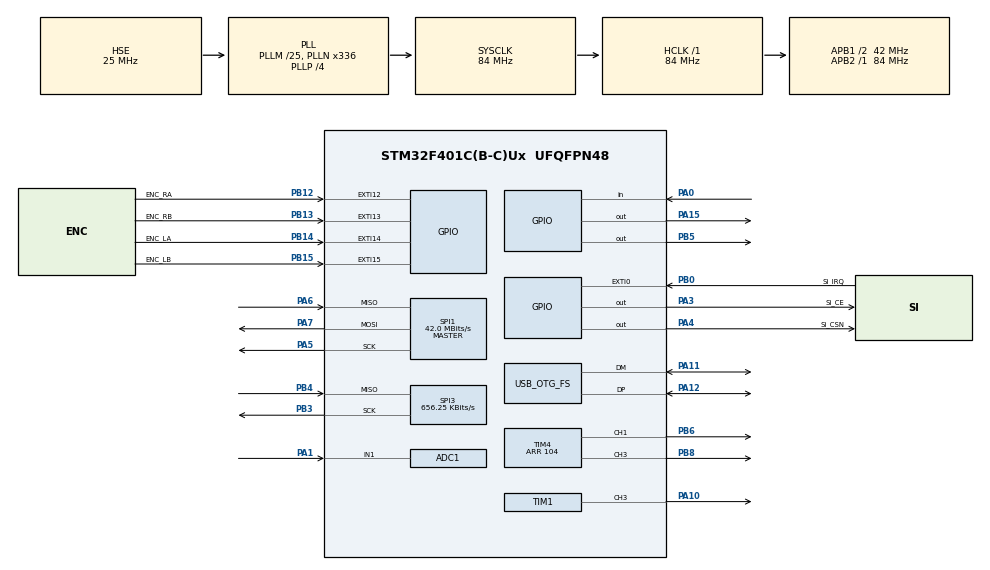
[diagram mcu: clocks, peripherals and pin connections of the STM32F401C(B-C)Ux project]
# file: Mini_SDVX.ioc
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ADC1.Channel-1\#ChannelRegularConversion=ADC_CHANNEL_1
ADC1.NbrOfConversionFlag=1
ADC1.Rank-1\#ChannelRegularConversion=1
ADC1.SamplingTime-1\#ChannelRegularConversion=ADC_SAMPLETIME_3CYCLES
ADC1.master=1
AL94.I-CUBE-USBD-COMPOSITE.1.0.3.CompositeCcUSBJjCOMPOSITEJjCDCIiACM=true
AL94.I-CUBE-USBD-COMPOSITE.1.0.3.CompositeCcUSBJjCOMPOSITEJjCOMPOSITE=true
AL94.I-CUBE-USBD-COMPOSITE.1.0.3.CompositeCcUSBJjCOMPOSITEJjCore=true
AL94.I-CUBE-USBD-COMPOSITE.1.0.3.CompositeCcUSBJjCOMPOSITEJjMSCIiBOT=true
AL94.I-CUBE-USBD-COMPOSITE.1.0.3._USBD_USE_CDC_ACM=true
AL94.I-CUBE-USBD-COMPOSITE.1.0.3._USBD_USE_HID_KEYBOARD=true
AL94.I-CUBE-USBD-COMPOSITE.1.0.3._USBD_USE_HID_MOUSE=true
AL94.I-CUBE-USBD-COMPOSITE.1.0.3._USBD_USE_HS=false
Dma.Request0=TIM4_CH3
Dma.Request1=TIM4_CH1
Dma.TIM4_CH1.1.Direction=DMA_MEMORY_TO_PERIPH
Dma.TIM4_CH1.1.FIFOMode=DMA_FIFOMODE_DISABLE
Dma.TIM4_CH1.1.Instance=DMA1_Stream0
Dma.TIM4_CH1.1.MemDataAlignment=DMA_MDATAALIGN_HALFWORD
Dma.TIM4_CH1.1.MemInc=DMA_MINC_ENABLE
Dma.TIM4_CH1.1.Mode=DMA_NORMAL
Dma.TIM4_CH1.1.PeriphDataAlignment=DMA_PDATAALIGN_HALFWORD
Dma.TIM4_CH1.1.PeriphInc=DMA_PINC_DISABLE
Dma.TIM4_CH1.1.Priority=DMA_PRIORITY_LOW
Dma.TIM4_CH3.0.Direction=DMA_MEMORY_TO_PERIPH
Dma.TIM4_CH3.0.FIFOMode=DMA_FIFOMODE_DISABLE
Dma.TIM4_CH3.0.Instance=DMA1_Stream7
Dma.TIM4_CH3.0.MemDataAlignment=DMA_MDATAALIGN_WORD
Dma.TIM4_CH3.0.MemInc=DMA_MINC_ENABLE
Dma.TIM4_CH3.0.Mode=DMA_CIRCULAR
Dma.TIM4_CH3.0.PeriphDataAlignment=DMA_PDATAALIGN_WORD
Dma.TIM4_CH3.0.PeriphInc=DMA_PINC_DISABLE
Dma.TIM4_CH3.0.Priority=DMA_PRIORITY_LOW
Mcu.Family=STM32F4
Mcu.Name=STM32F401C(B-C)Ux
Mcu.Package=UFQFPN48
NVIC.DMA1_Stream0_IRQn=true\:0\:0\:false\:false\:true\:false\:true\:true
NVIC.DMA1_Stream7_IRQn=true\:0\:0\:false\:false\:true\:false\:true\:true
NVIC.EXTI15_10_IRQn=true\:0\:0\:false\:false\:true\:true\:true\:true
NVIC.PriorityGroup=NVIC_PRIORITYGROUP_4
NVIC.TIM3_IRQn=true\:0\:0\:false\:false\:true\:true\:true\:true
PA0-WKUP.GPIO_PuPd=GPIO_PULLUP
PA0-WKUP.Signal=GPIO_Input
PA1.Signal=ADCx_IN1
PA10.Signal=S_TIM1_CH3
PA11.Mode=Device_Only
PA11.Signal=USB_OTG_FS_DM
PA12.Mode=Device_Only
PA12.Signal=USB_OTG_FS_DP
PA13.Mode=Serial_Wire
PA13.Signal=SYS_JTMS-SWDIO
PA14.Mode=Serial_Wire
PA14.Signal=SYS_JTCK-SWCLK
PA15.Signal=GPIO_Output
PA3.GPIO_Label=Si_CE
PA3.Signal=GPIO_Output
PA4.GPIO_Label=Si_CSN
PA4.Signal=GPIO_Output
PA5.Mode=Full_Duplex_Master
PA5.Signal=SPI1_SCK
PA6.Mode=Full_Duplex_Master
PA6.Signal=SPI1_MISO
PA7.Mode=Full_Duplex_Master
PA7.Signal=SPI1_MOSI
PB0.GPIO_Label=Si_IRQ
PB0.Signal=GPXTI0
PB1.Signal=S_TIM3_CH4
PB12.GPIO_Label=ENC_RA
PB12.GPIO_ModeDefaultEXTI=GPIO_MODE_IT_RISING_FALLING
PB12.GPIO_PuPd=GPIO_PULLUP
PB12.Signal=GPXTI12
PB13.GPIO_Label=ENC_RB
PB13.GPIO_ModeDefaultEXTI=GPIO_MODE_IT_RISING_FALLING
PB13.GPIO_PuPd=GPIO_PULLUP
PB13.Signal=GPXTI13
PB14.GPIO_Label=ENC_LA
PB14.GPIO_ModeDefaultEXTI=GPIO_MODE_IT_RISING_FALLING
PB14.GPIO_PuPd=GPIO_PULLUP
PB14.Signal=GPXTI14
PB15.GPIO_Label=ENC_LB
PB15.GPIO_ModeDefaultEXTI=GPIO_MODE_IT_RISING_FALLING
PB15.GPIO_PuPd=GPIO_PULLUP
PB15.Signal=GPXTI15
PB3.Mode=RX_Only_Simplex_Unidirect_Master
PB3.Signal=SPI3_SCK
PB4.Mode=RX_Only_Simplex_Unidirect_Master
PB4.Signal=SPI3_MISO
PB5.Signal=GPIO_Output
PB6.Signal=S_TIM4_CH1
PB7.Signal=I2C1_SDA
PB8.GPIO_Speed=GPIO_SPEED_FREQ_HIGH
PB8.Signal=S_TIM4_CH3
PH0\ -\ OSC_IN.Mode=HSE-External-Oscillator
PH0\ -\ OSC_IN.Signal=RCC_OSC_IN
PH1\ -\ OSC_OUT.Mode=HSE-External-Oscillator
PH1\ -\ OSC_OUT.Signal=RCC_OSC_OUT
ProjectManager.HeapSize=0x400
ProjectManager.StackSize=0x400
ProjectManager.TargetToolchain=MDK-ARM V5.32
RCC.48MHZClocksFreq_Value=48000000
RCC.AHBFreq_Value=84000000
RCC.APB1CLKDivider=RCC_HCLK_DIV2
RCC.APB1Freq_Value=42000000
RCC.APB1TimFreq_Value=84000000
RCC.APB2Freq_Value=84000000
RCC.APB2TimFreq_Value=84000000
RCC.CortexFreq_Value=84000000
RCC.HCLKFreq_Value=84000000
RCC.HSE_VALUE=25000000
RCC.HSI_VALUE=16000000
RCC.LSE_VALUE=32768
RCC.PLLM=25
RCC.PLLN=336
RCC.PLLP=RCC_PLLP_DIV4
RCC.PLLQ=7
RCC.SYSCLKFreq_VALUE=84000000
RCC.SYSCLKSource=RCC_SYSCLKSOURCE_PLLCLK
RCC.VCOOutputFreq_Value=336000000
SH.ADCx_IN1.0=ADC1_IN1,IN1
SH.S_TIM1_CH3.0=TIM1_CH3,PWM Generation3 CH3
SH.S_TIM3_CH4.0=TIM3_CH4
SH.S_TIM4_CH1.0=TIM4_CH1,PWM Generation1 CH1
SH.S_TIM4_CH3.0=TIM4_CH3,PWM Generation3 CH3
SPI1.CLKPhase=SPI_PHASE_1EDGE
SPI1.CLKPolarity=SPI_POLARITY_HIGH
SPI1.CalculateBaudRate=42.0 MBits/s
SPI1.Direction=SPI_DIRECTION_2LINES
SPI1.Mode=SPI_MODE_MASTER
SPI1.VirtualType=VM_MASTER
SPI3.BaudRatePrescaler=SPI_BAUDRATEPRESCALER_64
SPI3.CLKPhase=SPI_PHASE_1EDGE
SPI3.CLKPolarity=SPI_POLARITY_HIGH
SPI3.CalculateBaudRate=656.25 KBits/s
SPI3.Direction=SPI_DIRECTION_2LINES_RXONLY
SPI3.Mode=SPI_MODE_MASTER
SPI3.VirtualType=VM_MASTER
TIM1.Channel-PWM\ Generation3\ CH3=TIM_CHANNEL_3
TIM3.AutoReloadPreload=TIM_AUTORELOAD_PRELOAD_ENABLE
TIM3.Period=9999
TIM3.Prescaler=83
TIM4.AutoReloadPreload=TIM_AUTORELOAD_PRELOAD_ENABLE
TIM4.Channel-PWM\ Generation1\ CH1=TIM_CHANNEL_1
TIM4.Channel-PWM\ Generation3\ CH3=TIM_CHANNEL_3
TIM4.OCPolarity_1=TIM_OCPOLARITY_HIGH
TIM4.OCPolarity_3=TIM_OCPOLARITY_HIGH
TIM4.Period=104
USB_OTG_FS.VirtualMode=Device_Only
VP_AL94.I-CUBE-USBD-COMPOSITE_VS_USBJjComposite_1.0.0_1.0.3.Mode=USBJjComposite
VP_TIM1_VS_ClockSourceINT.Mode=Internal
VP_TIM3_VS_ClockSourceINT.Mode=Internal
board=custom

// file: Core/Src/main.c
/* USER CODE BEGIN Header */
/* USER CODE END Header */
#include "main.h"
#include "adc.h"
#include "dma.h"
#include "spi.h"
#include "tim.h"
#include "usb_otg.h"
#include "gpio.h"

/* USER CODE BEGIN Includes */
//#define USE_USBD_COMPOSITE
#include "key.h"
// #include "usbd_composite.h"
 #include "usbd_cdc_if.h"
 #include "usbd_custom_hid_if.h"
//#include "ARGB.h"
/* USER CODE END Includes */

/* USER CODE BEGIN PD */
#define STEP 10;
/* USER CODE END PD */

/* USER CODE BEGIN PV */
extern uint8_t keyboardReport;
extern uint8_t keyboardReportNull;
extern uint16_t keyData;

int8_t mouseReport[5] = {};
uint8_t LCount;
uint8_t RCount;
uint8_t tick;
uint8_t readFlag;
uint8_t n;
extern USBD_HandleTypeDef hUsbDeviceFS;
/* USER CODE END PV */

void SystemClock_Config(void);

int main(void)
{

  /* MCU Configuration--------------------------------------------------------*/

  /* Reset of all peripherals, Initializes the Flash interface and the Systick. */
  HAL_Init();

  /* Configure the system clock */
  SystemClock_Config();

  /* USER CODE BEGIN SysInit */
  LCount = 0;
  RCount = 0;
  /* USER CODE END SysInit */

  /* Initialize all configured peripherals */
  MX_GPIO_Init();
  MX_ADC1_Init();
  MX_SPI1_Init();
  MX_DMA_Init();
  MX_TIM4_Init();
  MX_TIM1_Init();
  MX_SPI3_Init();
  MX_TIM3_Init();
  MX_USB_OTG_FS_PCD_Init();
  /* USER CODE BEGIN 2 */
  keyboardInit();
  mouseReport[0] = 2;
  // HAL_TIM_Base_Start_IT(&htim3);
  /* USER CODE END 2 */

  /* Infinite loop */
  /* USER CODE BEGIN WHILE */
  while (1)
  {
    // char str[] = "Hello World!\n";
    // CDC_Transmit_FS((uint8_t *)str, 13);
    // HAL_Delay(2000);
    if (keyboardBitDecode())
    {
      USBD_CUSTOM_HID_SendReport(&hUsbDeviceFS, &keyboardReport, 12);
      USBD_CUSTOM_HID_SendReport(&hUsbDeviceFS, &keyboardReportNull, 12);
    }
    HAL_Delay(1);
    // if (LCount != 0 || RCount != 0)
    // {
    //   mouseReport[2] = (int8_t)LCount * STEP;
    //   mouseReport[3] = (int8_t)RCount * STEP;
    //   USBD_CUSTOM_HID_SendReport(&hUsbDeviceFS, (uint8_t *)mouseReport, 5);
    //   LCount = 0;
    //   RCount = 0;
    // }
    // if(!(keyData & 0x01)){
    //   while(keyData & 0x01);
    //   n++;
    // }
    // if(!(keyData & (0x01 << 3))){
    //   while(keyData & (0x01 << 3));
    //   n--;
    // }
    /* USER CODE END WHILE */

  }
}

void SystemClock_Config(void)
{
  RCC_OscInitTypeDef RCC_OscInitStruct = {0};
  RCC_ClkInitTypeDef RCC_ClkInitStruct = {0};

  /** Configure the main internal regulator output voltage
  */
  __HAL_RCC_PWR_CLK_ENABLE();
  __HAL_PWR_VOLTAGESCALING_CONFIG(PWR_REGULATOR_VOLTAGE_SCALE2);

  /** Initializes the RCC Oscillators according to the specified parameters
  * in the RCC_OscInitTypeDef structure.
  */
  RCC_OscInitStruct.OscillatorType = RCC_OSCILLATORTYPE_HSE;
  RCC_OscInitStruct.HSEState = RCC_HSE_ON;
  RCC_OscInitStruct.PLL.PLLState = RCC_PLL_ON;
  RCC_OscInitStruct.PLL.PLLSource = RCC_PLLSOURCE_HSE;
  RCC_OscInitStruct.PLL.PLLM = 25;
  RCC_OscInitStruct.PLL.PLLN = 336;
  RCC_OscInitStruct.PLL.PLLP = RCC_PLLP_DIV4;
  RCC_OscInitStruct.PLL.PLLQ = 7;
  if (HAL_RCC_OscConfig(&RCC_OscInitStruct) != HAL_OK)
  {
    Error_Handler();
  }

  /** Initializes the CPU, AHB and APB buses clocks
  */
  RCC_ClkInitStruct.ClockType = RCC_CLOCKTYPE_HCLK|RCC_CLOCKTYPE_SYSCLK
                              |RCC_CLOCKTYPE_PCLK1|RCC_CLOCKTYPE_PCLK2;
  RCC_ClkInitStruct.SYSCLKSource = RCC_SYSCLKSOURCE_PLLCLK;
  RCC_ClkInitStruct.AHBCLKDivider = RCC_SYSCLK_DIV1;
  RCC_ClkInitStruct.APB1CLKDivider = RCC_HCLK_DIV2;
  RCC_ClkInitStruct.APB2CLKDivider = RCC_HCLK_DIV1;

  if (HAL_RCC_ClockConfig(&RCC_ClkInitStruct, FLASH_LATENCY_2) != HAL_OK)
  {
    Error_Handler();
  }
}

/* USER CODE BEGIN 4 */
void HAL_GPIO_EXTI_Callback(uint16_t GPIO_Pin)
{
  if (GPIO_Pin == ENC_LA_Pin)
  {
    if (HAL_GPIO_ReadPin(ENC_LA_GPIO_Port, ENC_LA_Pin))
    {
      if (HAL_GPIO_ReadPin(ENC_LB_GPIO_Port, ENC_LB_Pin))
        LCount--;
      else
        LCount++;
    }
    else
    {
      if (HAL_GPIO_ReadPin(ENC_LB_GPIO_Port, ENC_LB_Pin))
        LCount++;
      else
        LCount--;
    }
  }
  else if (GPIO_Pin == ENC_LB_Pin)
  {
    if (HAL_GPIO_ReadPin(ENC_LB_GPIO_Port, ENC_LB_Pin))
    {
      if (HAL_GPIO_ReadPin(ENC_LA_GPIO_Port, ENC_LA_Pin))
        LCount++;
      else
        LCount--;
    }
    else
    {
      if (HAL_GPIO_ReadPin(ENC_LA_GPIO_Port, ENC_LA_Pin))
        LCount--;
      else
        LCount++;
    }
  }
  else if (GPIO_Pin == ENC_RA_Pin)
  {
    if (HAL_GPIO_ReadPin(ENC_RA_GPIO_Port, ENC_RA_Pin))
    {
      if (HAL_GPIO_ReadPin(ENC_RB_GPIO_Port, ENC_RB_Pin))
        RCount--;
      else
        RCount++;
    }
    else
    {
      if (HAL_GPIO_ReadPin(ENC_RB_GPIO_Port, ENC_RB_Pin))
        RCount++;
      else
        RCount--;
    }
  }
  else if (GPIO_Pin == ENC_RB_Pin)
  {
    if (HAL_GPIO_ReadPin(ENC_RB_GPIO_Port, ENC_RB_Pin))
    {
      if (HAL_GPIO_ReadPin(ENC_RA_GPIO_Port, ENC_RA_Pin))
        RCount++;
      else
        RCount--;
    }
    else
    {
      if (HAL_GPIO_ReadPin(ENC_RA_GPIO_Port, ENC_RA_Pin))
        RCount--;
      else
        RCount++;
    }
  }
}

void HAL_TIM_PeriodElapsedCallback(TIM_HandleTypeDef *htim)
{
  if (htim == (&htim3))
  {

    // WS281X_SetPixelColorRGB(n,WS281X_Color(n, 255 - n, 25 + n));
    // WS281X_ShowRGB();
  }
}

/* USER CODE END 4 */

void Error_Handler(void)
{
}
